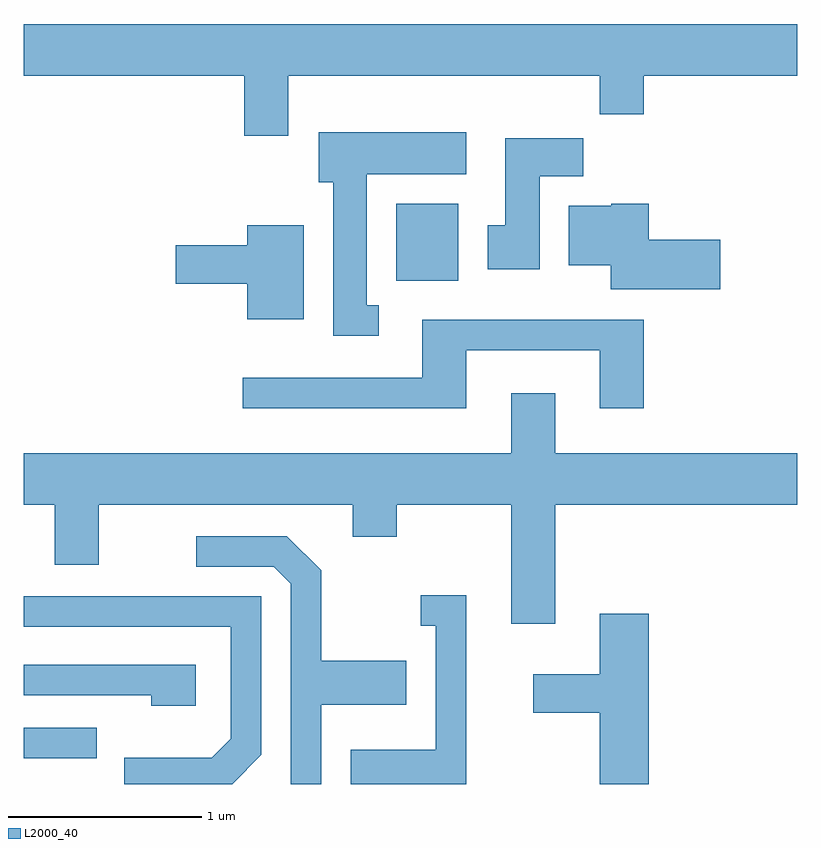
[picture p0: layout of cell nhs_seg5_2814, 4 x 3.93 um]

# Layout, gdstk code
import gdstk
lib = gdstk.Library(unit=1e-6, precision=1e-09)
def R(c, l, rs):  # rectangles x0, y0, x1, y1
    for r in rs: c.add(gdstk.rectangle(r[:2], r[2:], *l))
def P(c, l, *ps):  # polygons
    for p in ps: c.add(gdstk.Polygon(p, *l))
L2000_40 = (2000, 40)

nhs_seg5_2814 = lib.new_cell('nhs_seg5_2814')
R(nhs_seg5_2814, L2000_40, [(269.611,1402.206,269.988,1402.364), (271.536,1404.676,271.859,1405.074)])
P(nhs_seg5_2814, L2000_40, [(270.979,1405.736),(272.591,1405.736),(272.591,1405.536),(272.819,1405.536),(272.819,1405.736),(273.611,1405.736),(273.611,1406.004),(269.611,1406.004),(269.611,1405.736),(270.751,1405.736),(270.751,1405.426),(270.979,1405.426)],
  [(271.448,1404.549),(271.384,1404.549),(271.384,1405.226),(271.899,1405.226),(271.899,1405.444),(271.136,1405.444),(271.136,1405.186),(271.211,1405.186),(271.211,1404.391),(271.448,1404.391)],
  [(272.279,1405.216),(272.504,1405.216),(272.504,1405.414),(272.101,1405.414),(272.101,1404.964),(272.011,1404.964),(272.011,1404.736),(272.279,1404.736)],
  [(273.214,1404.889),(272.844,1404.889),(272.844,1405.074),(272.65,1405.074),(272.65,1405.064),(272.431,1405.064),(272.431,1404.756),(272.646,1404.756),(272.646,1404.631),(273.214,1404.631)],
  [(271.059,1404.964),(270.766,1404.964),(270.766,1404.859),(270.396,1404.859),(270.396,1404.661),(270.766,1404.661),(270.766,1404.476),(271.059,1404.476)],
  [(271.899,1404.316),(272.591,1404.316),(272.591,1404.016),(272.819,1404.016),(272.819,1404.474),(271.671,1404.474),(271.671,1404.174),(270.743,1404.174),(270.743,1404.016),(271.899,1404.016)],
  [(272.359,1403.516),(273.611,1403.516),(273.611,1403.784),(272.359,1403.784),(272.359,1404.094),(272.131,1404.094),(272.131,1403.784),(269.611,1403.784),(269.611,1403.516),(269.771,1403.516),(269.771,1403.206),(269.999,1403.206),(269.999,1403.516),(271.311,1403.516),(271.311,1403.351),(271.539,1403.351),(271.539,1403.516),(272.131,1403.516),(272.131,1402.901),(272.359,1402.901)],
  [(271.149,1402.481),(271.589,1402.481),(271.589,1402.709),(271.149,1402.709),(271.149,1403.177),(270.972,1403.354),(270.503,1403.354),(270.503,1403.196),(270.904,1403.196),(270.991,1403.109),(270.991,1402.072),(271.149,1402.072)],
  [(271.899,1403.049),(271.663,1403.049),(271.663,1402.891),(271.741,1402.891),(271.741,1402.249),(271.301,1402.249),(271.301,1402.072),(271.899,1402.072)],
  [(270.839,1402.224),(270.839,1403.044),(269.611,1403.044),(269.611,1402.886),(270.681,1402.886),(270.681,1402.307),(270.584,1402.209),(270.131,1402.209),(270.131,1402.072),(270.688,1402.072)],
  [(272.844,1402.954),(272.591,1402.954),(272.591,1402.639),(272.246,1402.639),(272.246,1402.441),(272.591,1402.441),(272.591,1402.072),(272.844,1402.072)],
  [(270.499,1402.689),(269.611,1402.689),(269.611,1402.531),(270.271,1402.531),(270.271,1402.476),(270.499,1402.476)])

lib.write_gds('nhs_seg5_2814.gds')
